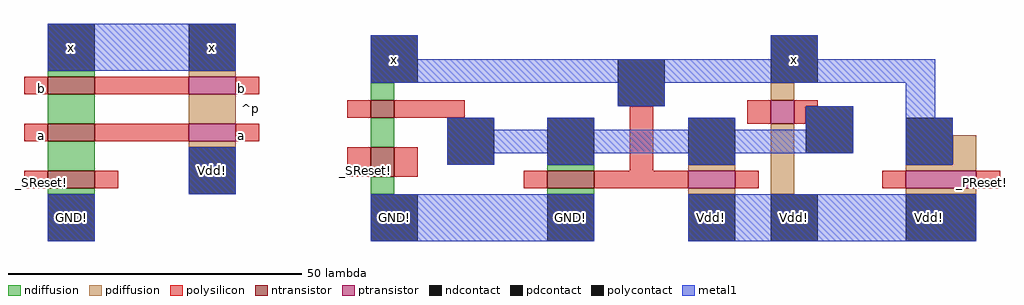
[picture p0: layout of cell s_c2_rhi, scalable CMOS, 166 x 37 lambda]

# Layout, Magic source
magic
tech scmos
<< ndiffusion >>
rect -149 93 -141 94
rect -149 85 -141 90
rect -94 89 -90 92
rect -149 77 -141 82
rect -94 81 -90 86
rect -149 73 -141 74
rect -64 77 -56 78
rect -94 73 -90 76
rect -64 73 -56 74
<< pdiffusion >>
rect -125 93 -117 94
rect -125 85 -117 90
rect -26 89 -22 92
rect -125 81 -117 82
rect -40 77 -32 78
rect -40 73 -32 74
rect -26 73 -22 85
rect 5 78 9 83
rect -3 77 9 78
rect -3 73 9 74
<< ntransistor >>
rect -149 90 -141 93
rect -94 86 -90 89
rect -149 82 -141 85
rect -149 74 -141 77
rect -94 76 -90 81
rect -64 74 -56 77
<< ptransistor >>
rect -125 90 -117 93
rect -125 82 -117 85
rect -26 85 -22 89
rect -40 74 -32 77
rect -3 74 9 77
<< polysilicon >>
rect -153 90 -149 93
rect -141 90 -125 93
rect -117 90 -113 93
rect -98 86 -94 89
rect -90 86 -78 89
rect -153 82 -149 85
rect -141 82 -125 85
rect -117 82 -113 85
rect -153 74 -149 77
rect -141 74 -137 77
rect -98 76 -94 81
rect -90 76 -86 81
rect -50 77 -46 88
rect -30 85 -26 89
rect -22 88 -18 89
rect -22 85 -20 88
rect -68 74 -64 77
rect -56 74 -40 77
rect -32 74 -28 77
rect -7 74 -3 77
rect 9 74 13 77
<< ndcontact >>
rect -149 94 -141 102
rect -94 92 -86 100
rect -64 78 -56 86
rect -149 65 -141 73
rect -94 65 -86 73
rect -64 65 -56 73
<< pdcontact >>
rect -125 94 -117 102
rect -26 92 -18 100
rect -125 73 -117 81
rect -40 78 -32 86
rect -40 65 -32 73
rect -3 78 5 86
rect -26 65 -18 73
rect -3 65 9 73
<< polycontact >>
rect -52 88 -44 96
rect -81 78 -73 86
rect -20 80 -12 88
<< metal1 >>
rect -149 94 -117 102
rect -94 96 -86 100
rect -26 96 -18 100
rect -94 92 2 96
rect -52 88 -44 92
rect -81 84 -73 86
rect -64 84 -56 86
rect -40 84 -32 86
rect -20 84 -12 88
rect -125 73 -117 81
rect -81 80 -12 84
rect -3 86 2 92
rect -81 78 -73 80
rect -64 78 -56 80
rect -40 78 -32 80
rect -3 78 5 86
rect -149 65 -141 73
rect -94 65 -56 73
rect -40 65 9 73
<< labels >>
rlabel polysilicon -150 75 -150 75 3 _SReset!
rlabel metal1 -145 69 -145 69 1 GND!
rlabel metal1 -121 77 -121 77 1 Vdd!
rlabel polysilicon -116 91 -116 91 7 b
rlabel polysilicon -116 83 -116 83 7 a
rlabel metal1 -121 98 -121 98 5 x
rlabel polysilicon -150 91 -150 91 3 b
rlabel polysilicon -150 83 -150 83 3 a
rlabel metal1 -145 98 -145 98 5 x
rlabel space -154 65 -149 102 7 ^n
rlabel space -117 73 -112 102 3 ^p
rlabel ndcontact -60 69 -60 69 1 GND!
rlabel pdcontact -36 69 -36 69 1 Vdd!
rlabel metal1 -90 69 -90 69 1 GND!
rlabel polysilicon -95 77 -95 77 1 _SReset!
rlabel metal1 -90 96 -90 96 1 x
rlabel metal1 -22 69 -22 69 1 Vdd!
rlabel metal1 -22 96 -22 96 1 x
rlabel metal1 1 69 1 69 8 Vdd!
rlabel polysilicon 10 75 10 75 7 _PReset!
<< end >>
